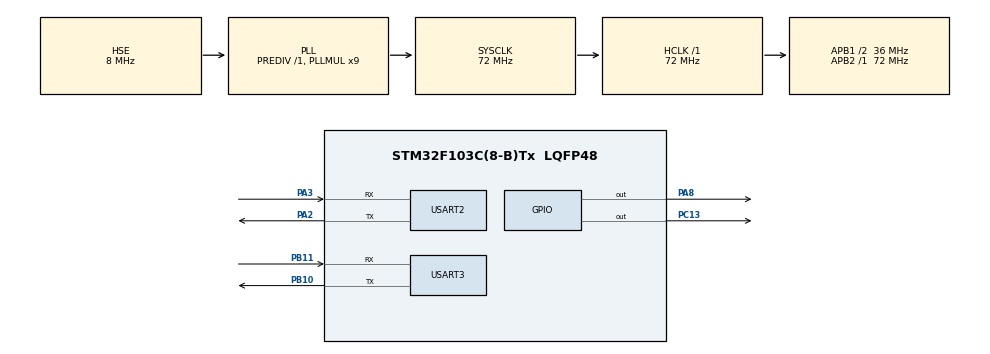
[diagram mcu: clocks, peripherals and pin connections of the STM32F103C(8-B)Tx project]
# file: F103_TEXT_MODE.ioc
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Dma.Request0=USART2_RX
Dma.Request1=USART2_TX
Dma.Request2=USART3_RX
Dma.Request3=USART3_TX
Dma.USART2_RX.0.Direction=DMA_PERIPH_TO_MEMORY
Dma.USART2_RX.0.Instance=DMA1_Channel6
Dma.USART2_RX.0.MemDataAlignment=DMA_MDATAALIGN_BYTE
Dma.USART2_RX.0.MemInc=DMA_MINC_ENABLE
Dma.USART2_RX.0.Mode=DMA_NORMAL
Dma.USART2_RX.0.PeriphDataAlignment=DMA_PDATAALIGN_BYTE
Dma.USART2_RX.0.PeriphInc=DMA_PINC_DISABLE
Dma.USART2_RX.0.Priority=DMA_PRIORITY_LOW
Dma.USART2_TX.1.Direction=DMA_MEMORY_TO_PERIPH
Dma.USART2_TX.1.Instance=DMA1_Channel7
Dma.USART2_TX.1.MemDataAlignment=DMA_MDATAALIGN_BYTE
Dma.USART2_TX.1.MemInc=DMA_MINC_ENABLE
Dma.USART2_TX.1.Mode=DMA_NORMAL
Dma.USART2_TX.1.PeriphDataAlignment=DMA_PDATAALIGN_BYTE
Dma.USART2_TX.1.PeriphInc=DMA_PINC_DISABLE
Dma.USART2_TX.1.Priority=DMA_PRIORITY_LOW
Dma.USART3_RX.2.Direction=DMA_PERIPH_TO_MEMORY
Dma.USART3_RX.2.Instance=DMA1_Channel3
Dma.USART3_RX.2.MemDataAlignment=DMA_MDATAALIGN_BYTE
Dma.USART3_RX.2.MemInc=DMA_MINC_ENABLE
Dma.USART3_RX.2.Mode=DMA_NORMAL
Dma.USART3_RX.2.PeriphDataAlignment=DMA_PDATAALIGN_BYTE
Dma.USART3_RX.2.PeriphInc=DMA_PINC_DISABLE
Dma.USART3_RX.2.Priority=DMA_PRIORITY_LOW
Dma.USART3_TX.3.Direction=DMA_MEMORY_TO_PERIPH
Dma.USART3_TX.3.Instance=DMA1_Channel2
Dma.USART3_TX.3.MemDataAlignment=DMA_MDATAALIGN_BYTE
Dma.USART3_TX.3.MemInc=DMA_MINC_ENABLE
Dma.USART3_TX.3.Mode=DMA_NORMAL
Dma.USART3_TX.3.PeriphDataAlignment=DMA_PDATAALIGN_BYTE
Dma.USART3_TX.3.PeriphInc=DMA_PINC_DISABLE
Dma.USART3_TX.3.Priority=DMA_PRIORITY_LOW
Mcu.Family=STM32F1
Mcu.Name=STM32F103C(8-B)Tx
Mcu.Package=LQFP48
NVIC.DMA1_Channel2_IRQn=true\:0\:0\:false\:false\:true\:false\:true\:true
NVIC.DMA1_Channel3_IRQn=true\:0\:0\:false\:false\:true\:false\:true\:true
NVIC.DMA1_Channel6_IRQn=true\:0\:0\:false\:false\:true\:false\:true\:true
NVIC.DMA1_Channel7_IRQn=true\:0\:0\:false\:false\:true\:false\:true\:true
NVIC.PriorityGroup=NVIC_PRIORITYGROUP_4
NVIC.USART2_IRQn=true\:0\:0\:false\:false\:true\:true\:true\:true
NVIC.USART3_IRQn=true\:0\:0\:false\:false\:true\:true\:true\:true
PA13.Mode=Serial_Wire
PA13.Signal=SYS_JTMS-SWDIO
PA14.Mode=Serial_Wire
PA14.Signal=SYS_JTCK-SWCLK
PA2.Mode=Asynchronous
PA2.Signal=USART2_TX
PA3.Mode=Asynchronous
PA3.Signal=USART2_RX
PA8.Signal=GPIO_Output
PB10.Mode=Asynchronous
PB10.Signal=USART3_TX
PB11.Mode=Asynchronous
PB11.Signal=USART3_RX
PC13-TAMPER-RTC.Signal=GPIO_Output
PD0-OSC_IN.Mode=HSE-External-Oscillator
PD0-OSC_IN.Signal=RCC_OSC_IN
PD1-OSC_OUT.Mode=HSE-External-Oscillator
PD1-OSC_OUT.Signal=RCC_OSC_OUT
ProjectManager.HeapSize=0x200
ProjectManager.StackSize=0x400
ProjectManager.TargetToolchain=STM32CubeIDE
RCC.AHBFreq_Value=72000000
RCC.APB1CLKDivider=RCC_HCLK_DIV2
RCC.APB1Freq_Value=36000000
RCC.APB1TimFreq_Value=72000000
RCC.APB2Freq_Value=72000000
RCC.APB2TimFreq_Value=72000000
RCC.HCLKFreq_Value=72000000
RCC.PLLMUL=RCC_PLL_MUL9
RCC.PLLSourceVirtual=RCC_PLLSOURCE_HSE
RCC.SYSCLKFreq_VALUE=72000000
RCC.SYSCLKSource=RCC_SYSCLKSOURCE_PLLCLK
RCC.USBFreq_Value=72000000
USART2.VirtualMode=VM_ASYNC
USART3.VirtualMode=VM_ASYNC
board=custom

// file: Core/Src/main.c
/* USER CODE BEGIN Header */
/**
  ******************************************************************************
  * @file           : main.c
  * @brief          : Main program body
  ******************************************************************************
  * @attention
  *
  * Copyright (c) 2025 STMicroelectronics.
  * All rights reserved.
  *
  * This software is licensed under terms that can be found in the LICENSE file
  * in the root directory of this software component.
  * If no LICENSE file comes with this software, it is provided AS-IS.
  *
  ******************************************************************************
  */
/* USER CODE END Header */
#include "main.h"
#include "string.h"
#include "stdio.h"
#include "stdlib.h"

UART_HandleTypeDef huart2;
UART_HandleTypeDef huart3;
DMA_HandleTypeDef hdma_usart2_rx;
DMA_HandleTypeDef hdma_usart2_tx;
DMA_HandleTypeDef hdma_usart3_rx;
DMA_HandleTypeDef hdma_usart3_tx;

/* USER CODE BEGIN PV */
char AtCommand[80];
uint8_t Reply[80];

/* USER CODE END PV */

void SystemClock_Config(void);
static void MX_GPIO_Init(void);
static void MX_DMA_Init(void);
static void MX_USART2_UART_Init(void);
static void MX_USART3_UART_Init(void);
/* USER CODE BEGIN PFP */
int checkNetwork()
{
	memset(AtCommand, 0, strlen(AtCommand));
	memset(Reply, 0, strlen((char*)Reply));
	sprintf(AtCommand, "AT\r\n");
	HAL_UART_Transmit(&huart2, (uint8_t *)AtCommand, strlen(AtCommand), 1000);
	HAL_UART_Transmit(&huart3, (uint8_t *)AtCommand, strlen(AtCommand), 1000);
	HAL_UART_Receive(&huart2, Reply, 80, 1000);
	HAL_UART_Transmit(&huart3, (uint8_t *)Reply, strlen((char *)Reply), 1000);
	if(strstr((char *)Reply,"OK"))
	  {
		//ATisOK = 1;
		//HAL_UART_Transmit(&huart3,(uint8_t *)rx_buffer,strlen((char *)rx_buffer),1000);
		HAL_GPIO_WritePin(GPIOC, GPIO_PIN_13, 1);
		HAL_Delay(2000);
		HAL_GPIO_WritePin(GPIOC, GPIO_PIN_13, 0);

	  }
	else
	{
		return 0;
	}

	memset(AtCommand, 0, strlen(AtCommand));
	memset(Reply, 0, strlen((char*)Reply));
	sprintf(AtCommand, "AT+CPIN=?\r\n");
	HAL_UART_Transmit(&huart2, (uint8_t *)AtCommand, strlen(AtCommand), 1000);
	HAL_UART_Transmit(&huart3, (uint8_t *)AtCommand, strlen(AtCommand), 1000);
	HAL_UART_Receive(&huart2, Reply, 80, 1000);
	HAL_UART_Transmit(&huart3, (uint8_t *)Reply, strlen((char *)Reply), 1000);

	memset(AtCommand, 0, strlen(AtCommand));
	memset(Reply, 0, strlen((char*)Reply));
	sprintf(AtCommand, "AT+CPIN?\r\n");
	HAL_UART_Transmit(&huart2, (uint8_t *)AtCommand, strlen(AtCommand), 1000);
	HAL_UART_Transmit(&huart3, (uint8_t *)AtCommand, strlen(AtCommand), 1000);
	HAL_UART_Receive(&huart2, Reply, 80, 1000);
	HAL_UART_Transmit(&huart3, (uint8_t *)Reply, strlen((char *)Reply), 1000);

	if(strstr((char *)Reply,"READY"))
		  {
			//ATisOK = 1;
			//HAL_UART_Transmit(&huart3,(uint8_t *)rx_buffer,strlen((char *)rx_buffer),1000);
				HAL_GPIO_WritePin(GPIOC, GPIO_PIN_13, 1);
				HAL_Delay(2000);
				HAL_GPIO_WritePin(GPIOC, GPIO_PIN_13, 0);

		  }
		else
		{
			return 0;
		}

	memset(AtCommand, 0, strlen(AtCommand));
	memset(Reply, 0, strlen((char*)Reply));
	sprintf(AtCommand, "AT+CIMI=?\r\n");
	HAL_UART_Transmit(&huart2, (uint8_t *)AtCommand, strlen(AtCommand), 1000);
	HAL_UART_Transmit(&huart3, (uint8_t *)AtCommand, strlen(AtCommand), 1000);
	HAL_UART_Receive(&huart2, Reply, 80, 1000);
	HAL_UART_Transmit(&huart3, (uint8_t *)Reply, strlen((char *)Reply), 1000);

	memset(AtCommand, 0, strlen(AtCommand));
	memset(Reply, 0, strlen((char*)Reply));
	sprintf(AtCommand, "AT+CIMI\r\n");
	HAL_UART_Transmit(&huart2, (uint8_t *)AtCommand, strlen(AtCommand), 1000);
	HAL_UART_Transmit(&huart3, (uint8_t *)AtCommand, strlen(AtCommand), 1000);
	HAL_UART_Receive(&huart2, Reply, 80, 1000);
	HAL_UART_Transmit(&huart3, (uint8_t *)Reply, strlen((char *)Reply), 1000);

	memset(AtCommand, 0, strlen(AtCommand));
	memset(Reply, 0, strlen((char*)Reply));
	sprintf(AtCommand, "AT+CREG?\r\n");
	HAL_UART_Transmit(&huart2, (uint8_t *)AtCommand, strlen(AtCommand), 1000);
	HAL_UART_Transmit(&huart3, (uint8_t *)AtCommand, strlen(AtCommand), 1000);
	HAL_UART_Receive(&huart2, Reply, 80, 1000);
	HAL_UART_Transmit(&huart3, (uint8_t *)Reply, strlen((char *)Reply), 1000);

	memset(AtCommand, 0, strlen(AtCommand));
	memset(Reply, 0, strlen((char*)Reply));
	sprintf(AtCommand, "AT+CSQ\r\n");
	HAL_UART_Transmit(&huart2, (uint8_t *)AtCommand, strlen(AtCommand), 1000);
	HAL_UART_Transmit(&huart3, (uint8_t *)AtCommand, strlen(AtCommand), 1000);
	HAL_UART_Receive(&huart2, Reply, 80, 1000);
	HAL_UART_Transmit(&huart3, (uint8_t *)Reply, strlen((char *)Reply), 1000);
	return 1;

}

int sendSMS() {
    memset(AtCommand, 0, sizeof(AtCommand));
    memset(Reply, 0, sizeof(Reply));

    // Set SMS text mode
    sprintf(AtCommand, "AT+CMGF=1\r\n");
    HAL_UART_Transmit(&huart2, (uint8_t *)AtCommand, strlen(AtCommand), 1000);
    HAL_UART_Receive(&huart2, Reply, sizeof(Reply), 1000);
    HAL_UART_Transmit(&huart3, (uint8_t *)Reply, strlen((char *)Reply), 1000);

    if (strstr((char *)Reply, "OK") == NULL) {
        return 0; // Error setting text mode
    }

    // Set recipient phone number
    memset(AtCommand, 0, sizeof(AtCommand));
    sprintf(AtCommand, "AT+CMGS=\"+254750558407\"\r\n");
    HAL_UART_Transmit(&huart2, (uint8_t *)AtCommand, strlen(AtCommand), 1000);
    HAL_UART_Receive(&huart2, Reply, sizeof(Reply), 1000);
    HAL_UART_Transmit(&huart3, (uint8_t *)Reply, strlen((char *)Reply), 1000);

    if (strstr((char *)Reply, "> ") == NULL) { // Check for prompt
        return 0; // Error setting phone number
    }

    // Send SMS message
    memset(AtCommand, 0, sizeof(AtCommand));
    sprintf(AtCommand, "Hello\r\n");
    HAL_UART_Transmit(&huart2, (uint8_t *)AtCommand, strlen(AtCommand), 1000);
    HAL_UART_Transmit(&huart3, (uint8_t *)AtCommand, strlen(AtCommand), 1000);
    memset(AtCommand, 0, sizeof(AtCommand));

    AtCommand[0] = 26; // Ctrl+Z
    AtCommand[1] = '\0';
    HAL_UART_Transmit(&huart2, (uint8_t *)"\x1A", 1, 1000);
    HAL_UART_Transmit(&huart3, (uint8_t *)AtCommand, 1, 1000);

    memset(Reply, 0, sizeof(Reply));
    HAL_UART_Receive(&huart2, Reply, sizeof(Reply), 1000);
    HAL_UART_Transmit(&huart3, (uint8_t *)Reply, strlen((char *)Reply), 1000);

    if (strstr((char *)Reply, "+CMGS:") != NULL) { // Check for +CMGS:
            HAL_GPIO_WritePin(GPIOC, GPIO_PIN_13, 1); // Indicate success
            return 1; // SMS sent successfully
        } else {
            return 0; // SMS sending failed
        }

    return 1; // SMS sent successfully
}

/* USER CODE END PFP */

int main(void)
{

  /* MCU Configuration--------------------------------------------------------*/

  /* Reset of all peripherals, Initializes the Flash interface and the Systick. */
  HAL_Init();

  /* Configure the system clock */
  SystemClock_Config();

  /* Initialize all configured peripherals */
  MX_GPIO_Init();
  MX_DMA_Init();
  MX_USART2_UART_Init();
  MX_USART3_UART_Init();
  /* USER CODE BEGIN 2 */
  HAL_GPIO_WritePin(GPIOA, GPIO_PIN_8, 0);
  HAL_Delay(5000);
  HAL_GPIO_WritePin(GPIOA, GPIO_PIN_8, 1);
  HAL_Delay(5000);
  HAL_GPIO_WritePin(GPIOA, GPIO_PIN_8, 0);

  /* USER CODE END 2 */

  /* Infinite loop */
  /* USER CODE BEGIN WHILE */
  while (!checkNetwork())
  {
    /* USER CODE END WHILE */
	  checkNetwork();
	  HAL_Delay(1000);

    /* USER CODE BEGIN 3 */
  }
  sendSMS();
  /* USER CODE END 3 */
}

void SystemClock_Config(void)
{
  RCC_OscInitTypeDef RCC_OscInitStruct = {0};
  RCC_ClkInitTypeDef RCC_ClkInitStruct = {0};

  /** Initializes the RCC Oscillators according to the specified parameters
  * in the RCC_OscInitTypeDef structure.
  */
  RCC_OscInitStruct.OscillatorType = RCC_OSCILLATORTYPE_HSE;
  RCC_OscInitStruct.HSEState = RCC_HSE_ON;
  RCC_OscInitStruct.HSEPredivValue = RCC_HSE_PREDIV_DIV1;
  RCC_OscInitStruct.HSIState = RCC_HSI_ON;
  RCC_OscInitStruct.PLL.PLLState = RCC_PLL_ON;
  RCC_OscInitStruct.PLL.PLLSource = RCC_PLLSOURCE_HSE;
  RCC_OscInitStruct.PLL.PLLMUL = RCC_PLL_MUL9;
  if (HAL_RCC_OscConfig(&RCC_OscInitStruct) != HAL_OK)
  {
    Error_Handler();
  }

  /** Initializes the CPU, AHB and APB buses clocks
  */
  RCC_ClkInitStruct.ClockType = RCC_CLOCKTYPE_HCLK|RCC_CLOCKTYPE_SYSCLK
                              |RCC_CLOCKTYPE_PCLK1|RCC_CLOCKTYPE_PCLK2;
  RCC_ClkInitStruct.SYSCLKSource = RCC_SYSCLKSOURCE_PLLCLK;
  RCC_ClkInitStruct.AHBCLKDivider = RCC_SYSCLK_DIV1;
  RCC_ClkInitStruct.APB1CLKDivider = RCC_HCLK_DIV2;
  RCC_ClkInitStruct.APB2CLKDivider = RCC_HCLK_DIV1;

  if (HAL_RCC_ClockConfig(&RCC_ClkInitStruct, FLASH_LATENCY_2) != HAL_OK)
  {
    Error_Handler();
  }
}

static void MX_USART2_UART_Init(void)
{

  huart2.Instance = USART2;
  huart2.Init.BaudRate = 115200;
  huart2.Init.WordLength = UART_WORDLENGTH_8B;
  huart2.Init.StopBits = UART_STOPBITS_1;
  huart2.Init.Parity = UART_PARITY_NONE;
  huart2.Init.Mode = UART_MODE_TX_RX;
  huart2.Init.HwFlowCtl = UART_HWCONTROL_NONE;
  huart2.Init.OverSampling = UART_OVERSAMPLING_16;
  if (HAL_UART_Init(&huart2) != HAL_OK)
  {
    Error_Handler();
  }

}

static void MX_USART3_UART_Init(void)
{

  huart3.Instance = USART3;
  huart3.Init.BaudRate = 115200;
  huart3.Init.WordLength = UART_WORDLENGTH_8B;
  huart3.Init.StopBits = UART_STOPBITS_1;
  huart3.Init.Parity = UART_PARITY_NONE;
  huart3.Init.Mode = UART_MODE_TX_RX;
  huart3.Init.HwFlowCtl = UART_HWCONTROL_NONE;
  huart3.Init.OverSampling = UART_OVERSAMPLING_16;
  if (HAL_UART_Init(&huart3) != HAL_OK)
  {
    Error_Handler();
  }

}

static void MX_DMA_Init(void)
{

  /* DMA controller clock enable */
  __HAL_RCC_DMA1_CLK_ENABLE();

  /* DMA interrupt init */
  /* DMA1_Channel2_IRQn interrupt configuration */
  HAL_NVIC_SetPriority(DMA1_Channel2_IRQn, 0, 0);
  HAL_NVIC_EnableIRQ(DMA1_Channel2_IRQn);
  /* DMA1_Channel3_IRQn interrupt configuration */
  HAL_NVIC_SetPriority(DMA1_Channel3_IRQn, 0, 0);
  HAL_NVIC_EnableIRQ(DMA1_Channel3_IRQn);
  /* DMA1_Channel6_IRQn interrupt configuration */
  HAL_NVIC_SetPriority(DMA1_Channel6_IRQn, 0, 0);
  HAL_NVIC_EnableIRQ(DMA1_Channel6_IRQn);
  /* DMA1_Channel7_IRQn interrupt configuration */
  HAL_NVIC_SetPriority(DMA1_Channel7_IRQn, 0, 0);
  HAL_NVIC_EnableIRQ(DMA1_Channel7_IRQn);

}

static void MX_GPIO_Init(void)
{
  GPIO_InitTypeDef GPIO_InitStruct = {0};

  /* GPIO Ports Clock Enable */
  __HAL_RCC_GPIOC_CLK_ENABLE();
  __HAL_RCC_GPIOD_CLK_ENABLE();
  __HAL_RCC_GPIOA_CLK_ENABLE();
  __HAL_RCC_GPIOB_CLK_ENABLE();

  /*Configure GPIO pin Output Level */
  HAL_GPIO_WritePin(GPIOC, GPIO_PIN_13, GPIO_PIN_RESET);

  /*Configure GPIO pin Output Level */
  HAL_GPIO_WritePin(GPIOA, GPIO_PIN_8, GPIO_PIN_RESET);

  /*Configure GPIO pin : PC13 */
  GPIO_InitStruct.Pin = GPIO_PIN_13;
  GPIO_InitStruct.Mode = GPIO_MODE_OUTPUT_PP;
  GPIO_InitStruct.Pull = GPIO_NOPULL;
  GPIO_InitStruct.Speed = GPIO_SPEED_FREQ_LOW;
  HAL_GPIO_Init(GPIOC, &GPIO_InitStruct);

  /*Configure GPIO pin : PA8 */
  GPIO_InitStruct.Pin = GPIO_PIN_8;
  GPIO_InitStruct.Mode = GPIO_MODE_OUTPUT_PP;
  GPIO_InitStruct.Pull = GPIO_NOPULL;
  GPIO_InitStruct.Speed = GPIO_SPEED_FREQ_LOW;
  HAL_GPIO_Init(GPIOA, &GPIO_InitStruct);

}

void Error_Handler(void)
{
  __disable_irq();
  while (1)
  {
  }
}
